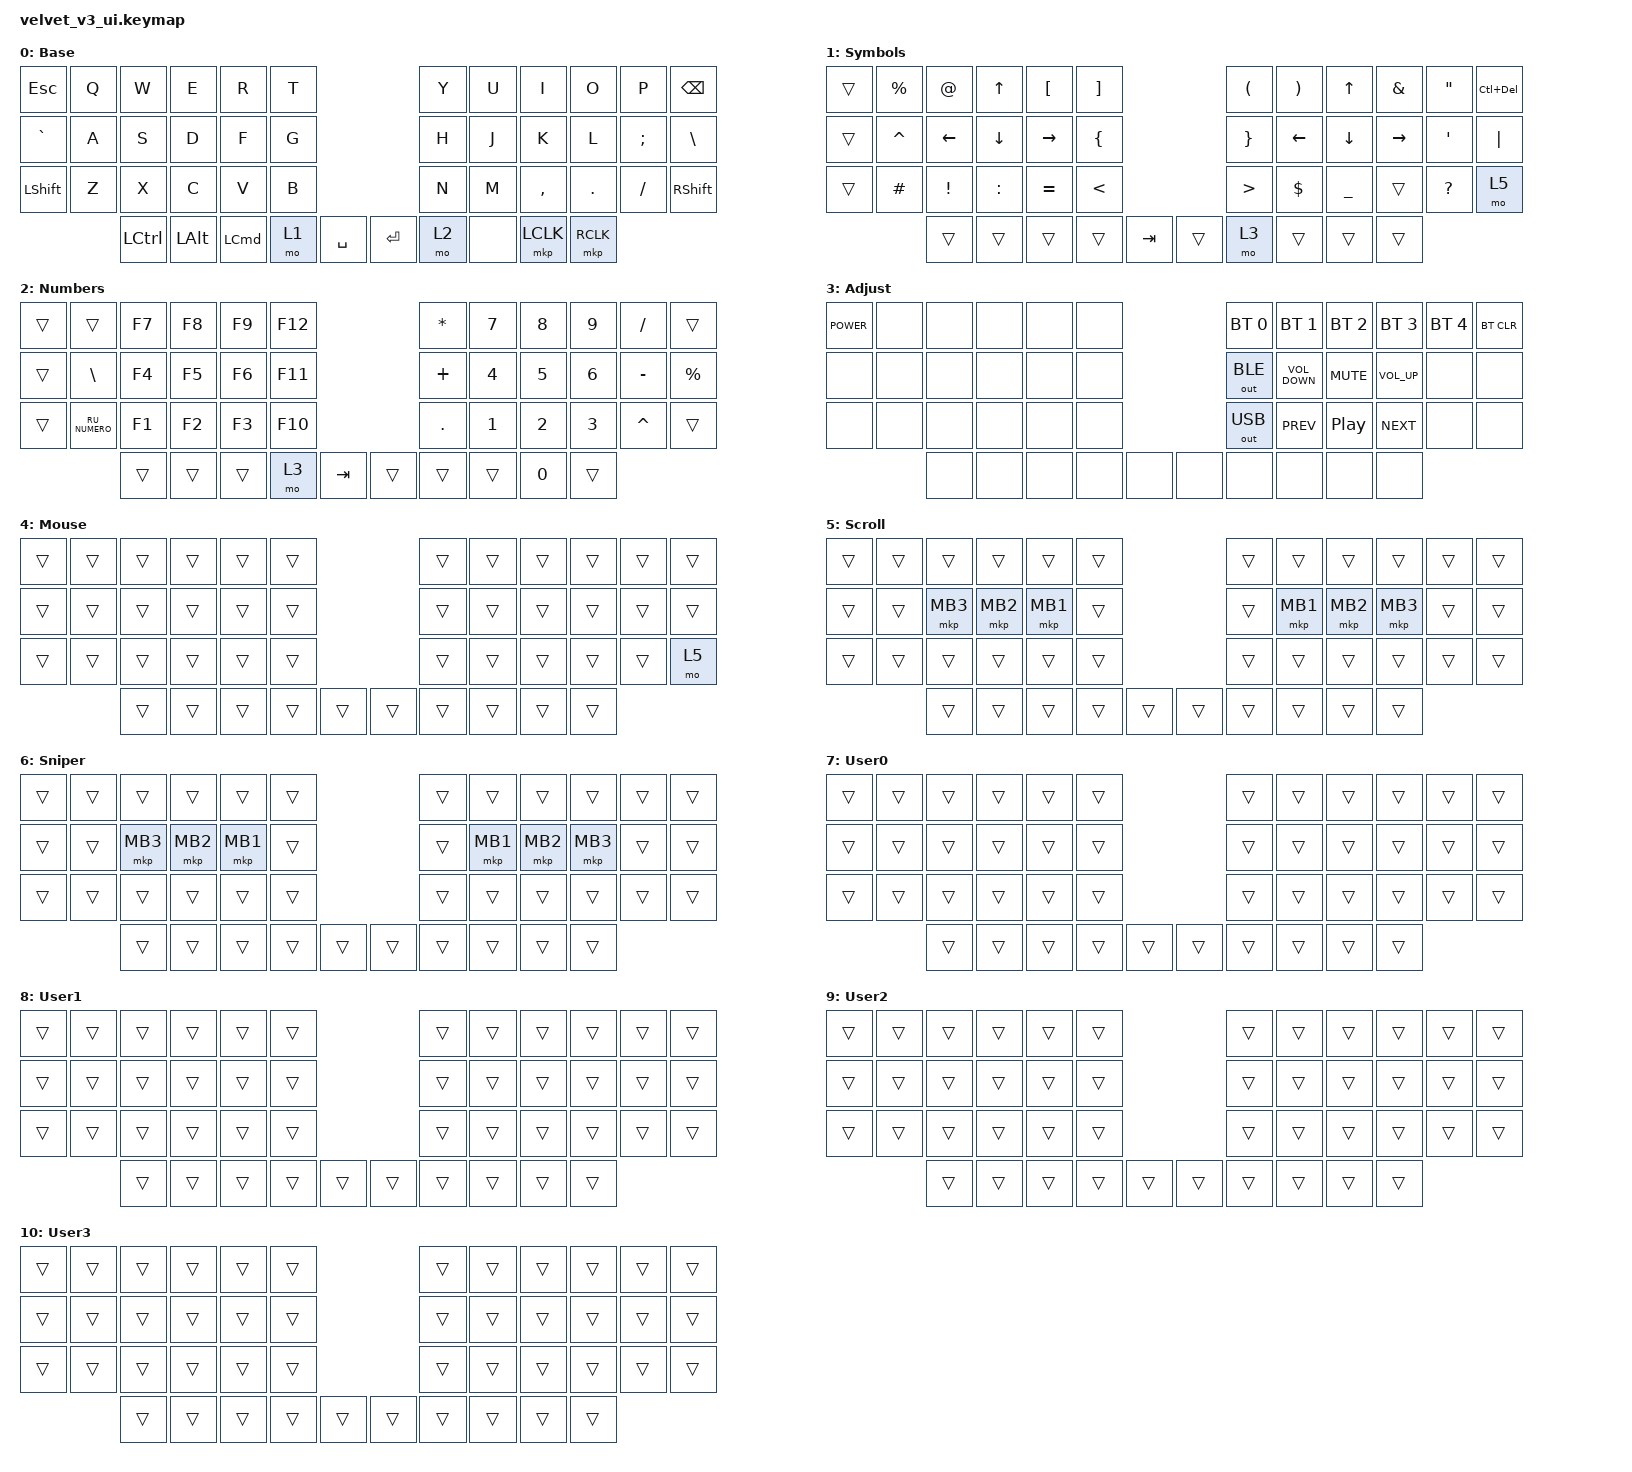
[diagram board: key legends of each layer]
#include "keys_ru.h"
#include <dt-bindings/zmk/input_transform.h>
#include <input/processors.dtsi>
#include <zephyr/dt-bindings/input/input-event-codes.h>
#include <behaviors.dtsi>
#include <dt-bindings/zmk/bt.h>
#include <dt-bindings/zmk/keys.h>
#include <dt-bindings/zmk/outputs.h>
#include <dt-bindings/zmk/pointing.h>

/ {
    behaviors {
        cap_sen: cap_sen {
            compatible = "zmk,behavior-hold-tap";
            label = "CAP_SEN";
            bindings = <&mo>, <&mkp>;

            #binding-cells = <2>;
            tapping-term-ms = <150>;
            hold-while-undecided;
        };

        mouse_layer: mouse_layer {
            compatible = "zmk,behavior-sticky-key";
            label = "MOUSE_LAYER";
            bindings = <&mo>;
            #binding-cells = <1>;
            release-after-ms = <800>;
        };

        zip_auto_mouse: zip_auto_mouse {
            compatible = "zmk,input-processor-temp-layer";
            #input-processor-cells = <2>;
            require-prior-idle-ms = <800>;
            excluded-positions = <>;
        };
    };

    keymap {
        compatible = "zmk,keymap";

        base {
            bindings = <
&kp ESC         &kp Q  &kp W             &kp E         &kp R             &kp T                        &kp Y  &kp U  &kp I      &kp O      &kp P     &kp BACKSPACE
&kp GRAVE       &kp A  &kp S             &kp D         &kp F             &kp G                        &kp H  &kp J  &kp K      &kp L      &kp SEMI  &kp BSLH
&kp LEFT_SHIFT  &kp Z  &kp X             &kp C         &kp V             &kp B                        &kp N  &kp M  &kp COMMA  &kp DOT    &kp FSLH  &kp RIGHT_SHIFT
                       &kp LEFT_CONTROL  &kp LEFT_ALT  &kp LEFT_COMMAND  &mo 1  &kp SPACE    &kp RET  &mo 2  &none  &mkp LCLK  &mkp RCLK
            >;

            display-name = "Base";
        };

        nav {
            bindings = <
&trans  &kp PRCNT  &kp AT_SIGN  &kp UP     &kp LEFT_BRACKET  &kp RIGHT_BRACKET                     &kp LEFT_PARENTHESIS  &kp RIGHT_PARENTHESIS  &kp UP     &kp AMPERSAND  &kp DQT    &kp LC(DELETE)
&trans  &kp CARET  &kp LEFT     &kp DOWN   &kp RIGHT         &kp LEFT_BRACE                        &kp RIGHT_BRACE       &kp LEFT               &kp DOWN   &kp RIGHT      &kp SQT    &kp PIPE
&trans  &kp HASH   &kp EXCL     &kp COLON  &kp EQUAL         &kp LESS_THAN                         &kp GREATER_THAN      &kp DOLLAR             &kp UNDER  &trans         &kp QMARK  &mo 5
                   &trans       &trans     &trans            &trans             &kp TAB    &trans  &mo 3                 &trans                 &trans     &trans
            >;

            display-name = "Symbols";
        };

        num {
            bindings = <
&trans  &trans         &kp F7  &kp F8  &kp F9  &kp F12                     &kp ASTRK  &kp NUMBER_7  &kp NUMBER_8  &kp NUMBER_9  &kp FSLH   &trans
&trans  &kp BSLH       &kp F4  &kp F5  &kp F6  &kp F11                     &kp PLUS   &kp NUMBER_4  &kp NUMBER_5  &kp NUMBER_6  &kp MINUS  &kp PRCNT
&trans  &kp RU_NUMERO  &kp F1  &kp F2  &kp F3  &kp F10                     &kp DOT    &kp NUMBER_1  &kp NUMBER_2  &kp NUMBER_3  &kp CARET  &trans
                       &trans  &trans  &trans  &mo 3    &kp TAB    &trans  &trans     &trans        &kp NUMBER_0  &trans
            >;

            display-name = "Numbers";
        };

        mult {
            bindings = <
&kp C_POWER  &none  &none  &none  &none  &none                  &bt BT_SEL 0  &bt BT_SEL 1       &bt BT_SEL 2      &bt BT_SEL 3  &bt BT_SEL 4  &bt BT_CLR
&none        &none  &none  &none  &none  &none                  &out OUT_BLE  &kp C_VOLUME_DOWN  &kp K_MUTE        &kp C_VOL_UP  &none         &none
&none        &none  &none  &none  &none  &none                  &out OUT_USB  &kp C_PREV         &kp C_PLAY_PAUSE  &kp C_NEXT    &none         &none
                    &none  &none  &none  &none  &none    &none  &none         &none              &none             &none
            >;

            display-name = "Adjust";
            label = "Multimedia";
        };

        mouse {
            bindings = <
&trans  &trans  &trans  &trans  &trans  &trans                    &trans  &trans  &trans  &trans  &trans  &trans
&trans  &trans  &trans  &trans  &trans  &trans                    &trans  &trans  &trans  &trans  &trans  &trans
&trans  &trans  &trans  &trans  &trans  &trans                    &trans  &trans  &trans  &trans  &trans  &mo 5
                &trans  &trans  &trans  &trans  &trans    &trans  &trans  &trans  &trans  &trans
            >;

            display-name = "Mouse";
        };

        scroll {
            bindings = <
&trans  &trans  &trans    &trans    &trans    &trans                    &trans  &trans    &trans    &trans    &trans  &trans
&trans  &trans  &mkp MB3  &mkp MB2  &mkp MB1  &trans                    &trans  &mkp MB1  &mkp MB2  &mkp MB3  &trans  &trans
&trans  &trans  &trans    &trans    &trans    &trans                    &trans  &trans    &trans    &trans    &trans  &trans
                &trans    &trans    &trans    &trans  &trans    &trans  &trans  &trans    &trans    &trans
            >;

            display-name = "Scroll";
        };

        sniper {
            bindings = <
&trans  &trans  &trans    &trans    &trans    &trans                    &trans  &trans    &trans    &trans    &trans  &trans
&trans  &trans  &mkp MB3  &mkp MB2  &mkp MB1  &trans                    &trans  &mkp MB1  &mkp MB2  &mkp MB3  &trans  &trans
&trans  &trans  &trans    &trans    &trans    &trans                    &trans  &trans    &trans    &trans    &trans  &trans
                &trans    &trans    &trans    &trans  &trans    &trans  &trans  &trans    &trans    &trans
            >;

            display-name = "Sniper";
        };

        User0 {
            bindings = <
&trans  &trans  &trans  &trans  &trans  &trans                    &trans  &trans  &trans  &trans  &trans  &trans
&trans  &trans  &trans  &trans  &trans  &trans                    &trans  &trans  &trans  &trans  &trans  &trans
&trans  &trans  &trans  &trans  &trans  &trans                    &trans  &trans  &trans  &trans  &trans  &trans
                &trans  &trans  &trans  &trans  &trans    &trans  &trans  &trans  &trans  &trans
            >;

            display-name = "User0";
        };

        User1 {
            bindings = <
&trans  &trans  &trans  &trans  &trans  &trans                    &trans  &trans  &trans  &trans  &trans  &trans
&trans  &trans  &trans  &trans  &trans  &trans                    &trans  &trans  &trans  &trans  &trans  &trans
&trans  &trans  &trans  &trans  &trans  &trans                    &trans  &trans  &trans  &trans  &trans  &trans
                &trans  &trans  &trans  &trans  &trans    &trans  &trans  &trans  &trans  &trans
            >;

            display-name = "User1";
        };

        User2 {
            bindings = <
&trans  &trans  &trans  &trans  &trans  &trans                    &trans  &trans  &trans  &trans  &trans  &trans
&trans  &trans  &trans  &trans  &trans  &trans                    &trans  &trans  &trans  &trans  &trans  &trans
&trans  &trans  &trans  &trans  &trans  &trans                    &trans  &trans  &trans  &trans  &trans  &trans
                &trans  &trans  &trans  &trans  &trans    &trans  &trans  &trans  &trans  &trans
            >;

            display-name = "User2";
        };

        User3 {
            bindings = <
&trans  &trans  &trans  &trans  &trans  &trans                    &trans  &trans  &trans  &trans  &trans  &trans
&trans  &trans  &trans  &trans  &trans  &trans                    &trans  &trans  &trans  &trans  &trans  &trans
&trans  &trans  &trans  &trans  &trans  &trans                    &trans  &trans  &trans  &trans  &trans  &trans
                &trans  &trans  &trans  &trans  &trans    &trans  &trans  &trans  &trans  &trans
            >;

            display-name = "User3";
        };
    };
};

&trackball { cpi = <1000>; };

&trackball_listener {
    input-processors = <&zip_auto_mouse 4 500>, <&zip_xy_scaler 9 20>;

    scroller {
        layers = <5>;
        input-processors =
            <&zip_xy_transform INPUT_TRANSFORM_Y_INVERT>,
            <&zip_xy_scaler 1 32>,
            <&zip_xy_to_scroll_mapper>;
    };

    sniper {
        layers = <6>;
        input-processors = <&zip_xy_scaler 1 4>;
    };
};
